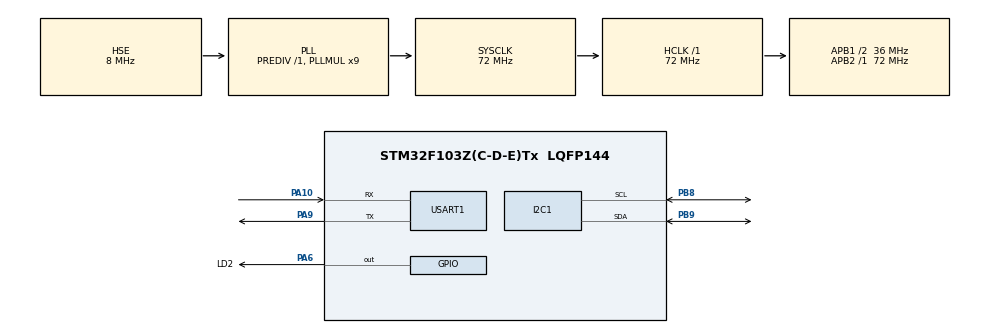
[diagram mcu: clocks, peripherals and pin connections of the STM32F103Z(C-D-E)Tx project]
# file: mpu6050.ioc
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Mcu.Family=STM32F1
Mcu.Name=STM32F103Z(C-D-E)Tx
Mcu.Package=LQFP144
NVIC.I2C1_ER_IRQn=true\:0\:0\:false\:false\:true\:true\:true\:true
NVIC.I2C1_EV_IRQn=true\:0\:0\:false\:false\:true\:true\:true\:true
NVIC.PriorityGroup=NVIC_PRIORITYGROUP_4
NVIC.USART1_IRQn=true\:0\:0\:false\:false\:true\:true\:true\:true
OSC_IN.Mode=HSE-External-Oscillator
OSC_IN.Signal=RCC_OSC_IN
OSC_OUT.Mode=HSE-External-Oscillator
OSC_OUT.Signal=RCC_OSC_OUT
PA10.Mode=Asynchronous
PA10.Signal=USART1_RX
PA13.Mode=Serial_Wire
PA13.Signal=SYS_JTMS-SWDIO
PA14.Mode=Serial_Wire
PA14.Signal=SYS_JTCK-SWCLK
PA6.GPIO_Label=LD2
PA6.Signal=GPIO_Output
PA9.Mode=Asynchronous
PA9.Signal=USART1_TX
PB8.Mode=I2C
PB8.Signal=I2C1_SCL
PB9.Mode=I2C
PB9.Signal=I2C1_SDA
ProjectManager.HeapSize=0x200
ProjectManager.StackSize=0x400
ProjectManager.TargetToolchain=MDK-ARM V5
RCC.AHBFreq_Value=72000000
RCC.APB1CLKDivider=RCC_HCLK_DIV2
RCC.APB1Freq_Value=36000000
RCC.APB1TimFreq_Value=72000000
RCC.APB2Freq_Value=72000000
RCC.APB2TimFreq_Value=72000000
RCC.HCLKFreq_Value=72000000
RCC.PLLMUL=RCC_PLL_MUL9
RCC.PLLSourceVirtual=RCC_PLLSOURCE_HSE
RCC.SYSCLKFreq_VALUE=72000000
RCC.SYSCLKSource=RCC_SYSCLKSOURCE_PLLCLK
RCC.USBFreq_Value=72000000
USART1.VirtualMode=VM_ASYNC
board=custom

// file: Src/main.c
/* USER CODE BEGIN Header */
/**
  ******************************************************************************
  * @file           : main.c
  * @brief          : Main program body
  ******************************************************************************
  * @attention
  *
  * Copyright (c) 2023 STMicroelectronics.
  * All rights reserved.
  *
  * This software is licensed under terms that can be found in the LICENSE file
  * in the root directory of this software component.
  * If no LICENSE file comes with this software, it is provided AS-IS.
  *
  ******************************************************************************
  */
/* USER CODE END Header */
#include "main.h"
#include "i2c.h"
#include "usart.h"
#include "gpio.h"

void SystemClock_Config(void);

/* USER CODE BEGIN 0 */
#define MPU6050_ADDR 0xD1

#define SMPLRT_DIV_REG 0x19
#define GYRO_CONFIG_REG 0x1B
#define ACCEL_CONFIG_REG 0x1C

#define ACCEL_XOUT_H_REG 0x3B
#define TEMP_OUT_H_REG 0x41
#define GYRO_XOUT_H_REG 0x43
#define PWR_MGMT_1_REG 0x6B
#define WHO_AM_I_REG 0x75

int16_t Accel_X_RAW =0;
int16_t Accel_Y_RAW =0;
int16_t Accel_Z_RAW =0;

int16_t Gyro_X_RAW =0;
int16_t Gyro_Y_RAW =0;
int16_t Gyro_Z_RAW =0;

int16_t Temp_RAW =0;

float Ax,Ay,Az,Gx,Gy,Gz,Temp;

void MPU6050_Init(void)
{
uint8_t check,Data;

	//检查设备ID WHO_AM_I
	HAL_I2C_Mem_Read(&hi2c1,MPU6050_ADDR,WHO_AM_I_REG,1,&check,1,1000);

	if(check==104)
	{

		//电源管理器0x6B我们因该写入所有0来唤醒传感器
		Data=0;
		HAL_I2C_Mem_Write(&hi2c1,MPU6050_ADDR,PWR_MGMT_1_REG,1,&Data,1,1000);

		//通过写入SMPLRT_DIV寄存器设置1Khz的数据频率
		Data=0x07;
		HAL_I2C_Mem_Write(&hi2c1,MPU6050_ADDR,SMPLRT_DIV_REG,1,&Data,1,1000);

		//在ACCEL_CONFIG配置寄存器中设置加速计配置
		Data=0x00;
		HAL_I2C_Mem_Write(&hi2c1,MPU6050_ADDR,ACCEL_CONFIG_REG,1,&Data,1,1000);

		//在陀螺仪配置寄存器中设置陀螺配置
		Data=0x00;
		HAL_I2C_Mem_Write(&hi2c1,MPU6050_ADDR,GYRO_CONFIG_REG,1,&Data,1,1000);
	}
}

//加速度读取函数
void MPU6050_Read_Accel(void)
{
   uint8_t Rec_Data[6];

	 HAL_I2C_Mem_Read(&hi2c1,MPU6050_ADDR,ACCEL_XOUT_H_REG,1,Rec_Data,6,1000);

	Accel_X_RAW=(int16_t)(Rec_Data[0]<<8|Rec_Data[1]);
	Accel_Y_RAW=(int16_t)(Rec_Data[2]<<8|Rec_Data[3]);
	Accel_Z_RAW=(int16_t)(Rec_Data[4]<<8|Rec_Data[5]);

	Ax=Accel_X_RAW/16384.0;
	Ay=Accel_Y_RAW/16384.0;
	Az=Accel_Z_RAW/16384.0;

}

//角速度读取函数
void MPU6050_Read_Gyro(void)
{
     uint8_t Rec_Data[6];

		 HAL_I2C_Mem_Read(&hi2c1,MPU6050_ADDR,GYRO_XOUT_H_REG,1,Rec_Data,6,1000);

	   Gyro_X_RAW=(int16_t)(Rec_Data[0]<<8|Rec_Data[1]);
	   Gyro_Y_RAW=(int16_t)(Rec_Data[2]<<8|Rec_Data[3]);
	   Gyro_Z_RAW=(int16_t)(Rec_Data[4]<<8|Rec_Data[5]);

	   Gx=Gyro_X_RAW/131.0;
	   Gy=Gyro_Y_RAW/131.0;
	   Gz=Gyro_Z_RAW/131.0;
}

//温度读取函数
void MPU6050_Read_Temp(void)
{
     uint8_t Rec_Data[6];

     HAL_I2C_Mem_Read(&hi2c1,MPU6050_ADDR,TEMP_OUT_H_REG,1,Rec_Data,2,1000);

	   Temp_RAW=(int16_t)(Rec_Data[0]<<8|Rec_Data[1]);
	   Temp=36.53+(Temp_RAW)/340;
}

/* USER CODE END 0 */

int main(void)
{

  /* MCU Configuration--------------------------------------------------------*/

  /* Reset of all peripherals, Initializes the Flash interface and the Systick. */
  HAL_Init();

  /* Configure the system clock */
  SystemClock_Config();

  /* Initialize all configured peripherals */
  MX_GPIO_Init();
  MX_USART1_UART_Init();
  MX_I2C1_Init();
  /* USER CODE BEGIN 2 */
	MPU6050_Init();

//	for(uint8_t i=0;i<255;i++)
//	{
//	if(HAL_I2C_IsDeviceReady(&hi2c1,i,1,1000)==HAL_OK)
//	{
//	 printf("%d\n",i);
//	 break;
//	}
//	}
  /* USER CODE END 2 */

  /* Infinite loop */
  while (1)
  {

    /* USER CODE BEGIN 3 */
    MPU6050_Read_Accel();
		MPU6050_Read_Gyro();
		MPU6050_Read_Temp();

//		printf("Ax=%.2f,Ay=%.2f,Az=%.2f \n",Ax,Ay,Az);//打印出X,Y,Z的加速度
//		printf("Gx=%.2f,Gy=%.2f,Gy=%.2f \n",Gx,Gy,Gz);//打印出X,Y,Z的角度加速度
//	  printf("Temperature=%.2f \n",Temp);//打印出温度
		printf("%.2f,%.2f,%.2f  \n",Gx,Gy,Gz);//在vofa上显示数据

  }
  /* USER CODE END 3 */
}

void SystemClock_Config(void)
{
  RCC_OscInitTypeDef RCC_OscInitStruct = {0};
  RCC_ClkInitTypeDef RCC_ClkInitStruct = {0};

  /** Initializes the RCC Oscillators according to the specified parameters
  * in the RCC_OscInitTypeDef structure.
  */
  RCC_OscInitStruct.OscillatorType = RCC_OSCILLATORTYPE_HSE;
  RCC_OscInitStruct.HSEState = RCC_HSE_ON;
  RCC_OscInitStruct.HSEPredivValue = RCC_HSE_PREDIV_DIV1;
  RCC_OscInitStruct.HSIState = RCC_HSI_ON;
  RCC_OscInitStruct.PLL.PLLState = RCC_PLL_ON;
  RCC_OscInitStruct.PLL.PLLSource = RCC_PLLSOURCE_HSE;
  RCC_OscInitStruct.PLL.PLLMUL = RCC_PLL_MUL9;
  if (HAL_RCC_OscConfig(&RCC_OscInitStruct) != HAL_OK)
  {
    Error_Handler();
  }

  /** Initializes the CPU, AHB and APB buses clocks
  */
  RCC_ClkInitStruct.ClockType = RCC_CLOCKTYPE_HCLK|RCC_CLOCKTYPE_SYSCLK
                              |RCC_CLOCKTYPE_PCLK1|RCC_CLOCKTYPE_PCLK2;
  RCC_ClkInitStruct.SYSCLKSource = RCC_SYSCLKSOURCE_PLLCLK;
  RCC_ClkInitStruct.AHBCLKDivider = RCC_SYSCLK_DIV1;
  RCC_ClkInitStruct.APB1CLKDivider = RCC_HCLK_DIV2;
  RCC_ClkInitStruct.APB2CLKDivider = RCC_HCLK_DIV1;

  if (HAL_RCC_ClockConfig(&RCC_ClkInitStruct, FLASH_LATENCY_2) != HAL_OK)
  {
    Error_Handler();
  }
}

void Error_Handler(void)
{
  __disable_irq();
  while (1)
  {
  }
}
